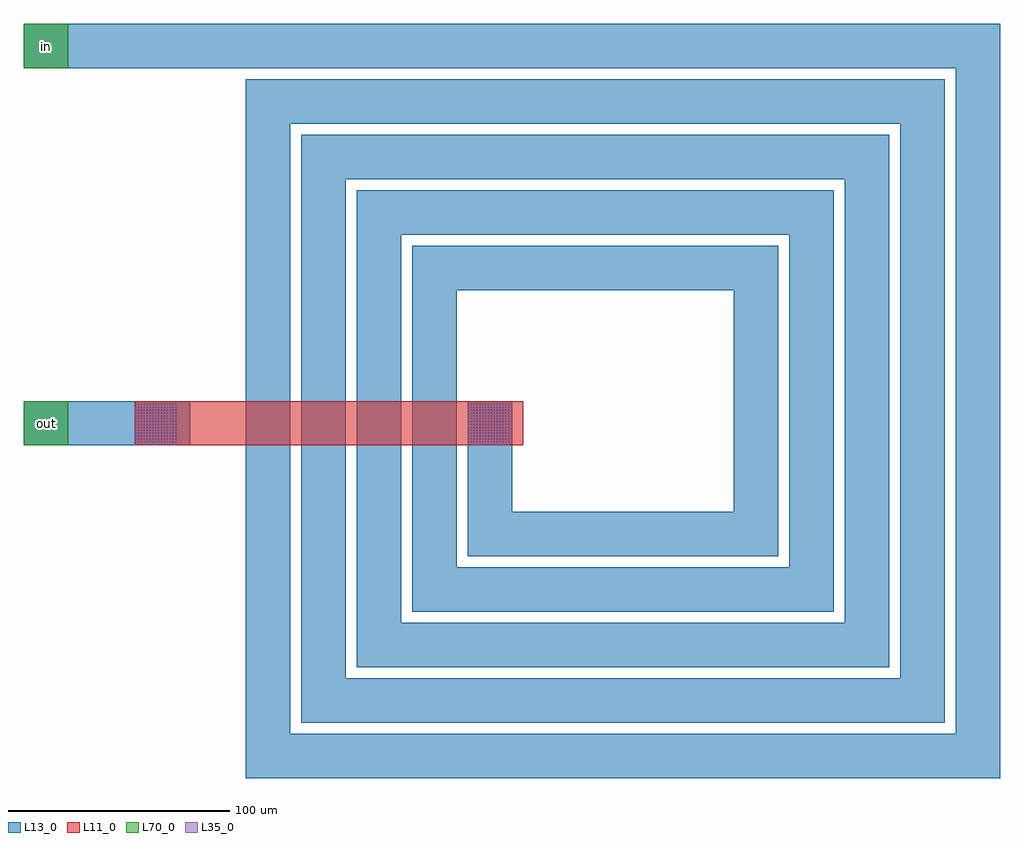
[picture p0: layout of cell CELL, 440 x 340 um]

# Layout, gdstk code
import gdstk
lib = gdstk.Library(unit=1e-6, precision=1e-09)
def R(c, l, rs):  # rectangles x0, y0, x1, y1
    for r in rs: c.add(gdstk.rectangle(r[:2], r[2:], *l))
def A(c, l, x, y, w, h, nx, ny, dx, dy):  # array of equal rectangles
    R(c, l, [(x+i*dx, y+j*dy, x+i*dx+w, y+j*dy+h) for i in range(nx) for j in range(ny)])
def P(c, l, *ps):  # polygons
    for p in ps: c.add(gdstk.Polygon(p, *l))
L11_0 = (11, 0)
L13_0 = (13, 0)
L35_0 = (35, 0)
L70_0 = (70, 0)

cell = lib.new_cell('CELL')
R(cell, L11_0, [(-160,-10,15,10)])
R(cell, L13_0, [(-210,-10,-135,10), (-210,160,-135,180)])
P(cell, L13_0, [(-10,10),(-10,-60),(130,-60),(130,80),(-35,80),(-35,-85),(155,-85),(155,105),(-60,105),(-60,-110),(180,-110),(180,130),(-85,130),(-85,-135),(205,-135),(205,155),(-110,155),(-110,-160),(230,-160),(230,180),(-135,180),(-135,160),(210,160),(210,-140),(-90,-140),(-90,135),(185,135),(185,-115),(-65,-115),(-65,110),(160,110),(160,-90),(-40,-90),(-40,85),(135,85),(135,-65),(-15,-65),(-15,60),(110,60),(110,-40),(10,-40),(10,10)])
A(cell, L35_0, -160, -10, 0.6, 0.6, 15, 15, 1.3, 1.3)
A(cell, L35_0, -10, -10, 0.6, 0.6, 15, 15, 1.3, 1.3)
R(cell, L70_0, [(-210,-10,-190,10), (-210,160,-190,180)])
cell.add(gdstk.Label('out', (-200,0), layer=70, texttype=1))
cell.add(gdstk.Label('in', (-200,170), layer=70, texttype=1))

lib.write_gds('CELL.gds')
